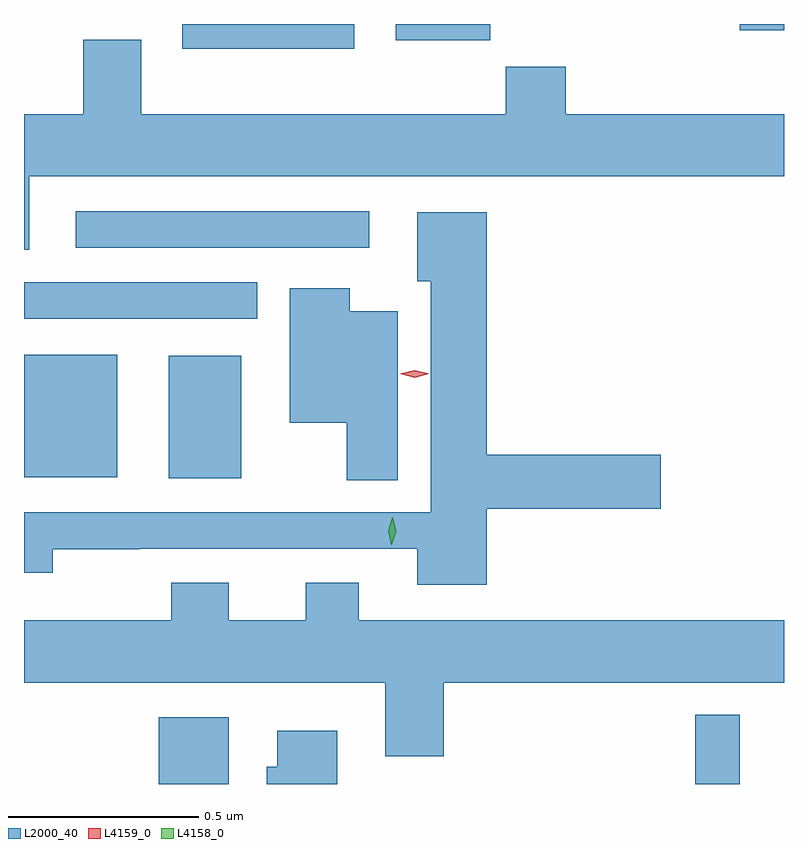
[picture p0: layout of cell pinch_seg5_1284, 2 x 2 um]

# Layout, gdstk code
import gdstk
lib = gdstk.Library(unit=1e-6, precision=1e-09)
def R(c, l, rs):  # rectangles x0, y0, x1, y1
    for r in rs: c.add(gdstk.rectangle(r[:2], r[2:], *l))
def P(c, l, *ps):  # polygons
    for p in ps: c.add(gdstk.Polygon(p, *l))
L2000_40 = (2000, 40)
L4158_0 = (4158, 0)
L4159_0 = (4159, 0)

pinch_seg5_1284 = lib.new_cell('pinch_seg5_1284')
R(pinch_seg5_1284, L2000_40, [(418.157,889.793,418.342,889.969), (419.569,889.793,419.686,889.975), (418.184,890.597,418.375,890.92), (417.803,890.6,418.048,890.923), (417.803,891.018,418.417,891.114), (417.939,891.204,418.711,891.3), (418.22,891.728,418.672,891.793), (418.781,891.75,419.03,891.793), (419.687,891.776,419.803,891.793)])
P(pinch_seg5_1284, L2000_40, [(417.817,891.392),(419.803,891.392),(419.803,891.556),(419.228,891.556),(419.228,891.68),(419.071,891.68),(419.071,891.556),(418.111,891.556),(418.111,891.751),(417.959,891.751),(417.959,891.556),(417.803,891.556),(417.803,891.199),(417.817,891.199)],
  [(419.021,890.518),(419.479,890.518),(419.479,890.66),(419.021,890.66),(419.021,891.298),(418.838,891.298),(418.838,891.116),(418.874,891.116),(418.874,890.508),(417.803,890.508),(417.803,890.349),(417.879,890.349),(417.879,890.411),(418.106,890.411),(418.106,890.412),(418.838,890.412),(418.838,890.318),(419.021,890.318)],
  [(418.786,891.037),(418.66,891.037),(418.66,891.097),(418.502,891.097),(418.502,890.744),(418.652,890.744),(418.652,890.593),(418.786,890.593)],
  [(418.907,890.06),(419.803,890.06),(419.803,890.224),(418.684,890.224),(418.684,890.323),(418.544,890.323),(418.544,890.224),(418.342,890.224),(418.342,890.323),(418.19,890.323),(418.19,890.224),(417.803,890.224),(417.803,890.06),(418.754,890.06),(418.754,889.866),(418.907,889.866)],
  [(418.627,889.933),(418.469,889.933),(418.469,889.839),(418.442,889.839),(418.442,889.793),(418.627,889.793)])
P(pinch_seg5_1284, L4158_0, [(418.77,890.423),(418.762,890.459),(418.772,890.494),(418.772,890.495),(418.773,890.494),(418.782,890.458),(418.771,890.423),(418.771,890.423)])
P(pinch_seg5_1284, L4159_0, [(418.831,890.862),(418.792,890.872),(418.792,890.872),(418.792,890.872),(418.831,890.882),(418.87,890.872),(418.87,890.872),(418.87,890.872)])

lib.write_gds('pinch_seg5_1284.gds')
